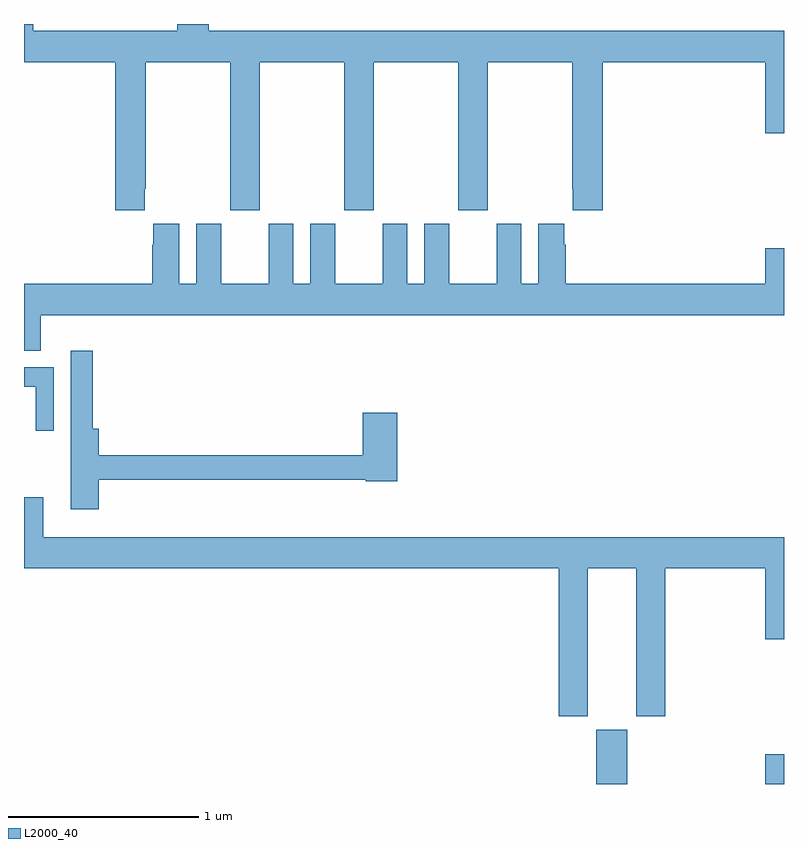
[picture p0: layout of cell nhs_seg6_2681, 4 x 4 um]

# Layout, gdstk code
import gdstk
lib = gdstk.Library(unit=1e-6, precision=1e-09)
def R(c, l, rs):  # rectangles x0, y0, x1, y1
    for r in rs: c.add(gdstk.rectangle(r[:2], r[2:], *l))
def P(c, l, *ps):  # polygons
    for p in ps: c.add(gdstk.Polygon(p, *l))
L2000_40 = (2000, 40)

nhs_seg6_2681 = lib.new_cell('nhs_seg6_2681')
R(nhs_seg6_2681, L2000_40, [(272.012,979.5,272.176,979.785), (272.9,979.5,273,979.657)])
P(nhs_seg6_2681, L2000_40, [(269.635,982.633),(269.64,982.633),(269.64,983.3),(270.085,983.3),(270.085,982.521),(270.24,982.521),(270.24,983.3),(270.685,983.3),(270.685,982.521),(270.84,982.521),(270.84,983.3),(271.285,983.3),(271.285,982.521),(271.44,982.521),(271.44,983.3),(271.885,983.3),(271.885,982.633),(271.889,982.633),(271.889,982.521),(272.045,982.521),(272.045,983.3),(272.9,983.3),(272.9,982.926),(273,982.926),(273,983.464),(269.972,983.464),(269.972,983.5),(269.807,983.5),(269.807,983.464),(269.048,983.464),(269.048,983.5),(269,983.5),(269,983.3),(269.48,983.3),(269.48,982.521),(269.635,982.521)],
  [(269.089,981.968),(273,981.968),(273,982.321),(272.9,982.321),(272.9,982.132),(271.85,982.132),(271.85,982.337),(271.843,982.337),(271.843,982.45),(271.706,982.45),(271.706,982.132),(271.618,982.132),(271.618,982.45),(271.487,982.45),(271.487,982.132),(271.237,982.132),(271.237,982.45),(271.106,982.45),(271.106,982.132),(271.018,982.132),(271.018,982.45),(270.887,982.45),(270.887,982.132),(270.637,982.132),(270.637,982.45),(270.506,982.45),(270.506,982.132),(270.418,982.132),(270.418,982.45),(270.287,982.45),(270.287,982.132),(270.037,982.132),(270.037,982.45),(269.906,982.45),(269.906,982.132),(269.818,982.132),(269.818,982.45),(269.681,982.45),(269.681,982.337),(269.675,982.337),(269.675,982.132),(269,982.132),(269,981.779),(269.089,981.779)],
  [(269.393,981.102),(270.798,981.102),(270.798,981.094),(270.965,981.094),(270.965,981.454),(270.782,981.454),(270.782,981.23),(269.393,981.23),(269.393,981.37),(269.363,981.37),(269.363,981.781),(269.247,981.781),(269.247,981.207),(269.246,981.207),(269.246,980.946),(269.393,980.946)],
  [(269.157,981.694),(269,981.694),(269,981.59),(269.061,981.59),(269.061,981.36),(269.157,981.36)],
  [(269.102,981.009),(269,981.009),(269,980.636),(271.814,980.636),(271.814,979.857),(271.966,979.857),(271.966,980.636),(272.222,980.636),(272.222,979.857),(272.375,979.857),(272.375,980.636),(272.9,980.636),(272.9,980.262),(273,980.262),(273,980.8),(269.102,980.8)])

lib.write_gds('nhs_seg6_2681.gds')
